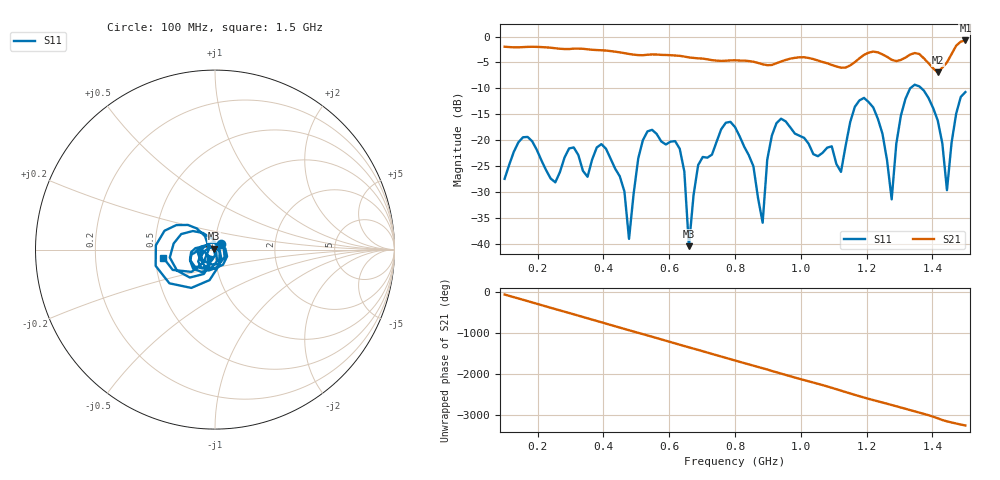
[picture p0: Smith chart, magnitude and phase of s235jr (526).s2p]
! NanoVNA-App
! Date: 2025-09-25 15:08:15
! Start: 100MHz Stop: 1,5GHz Points: 101
! S-Parameter data: F S11 S21 S12 S22
# Hz S RI R 50
!  Frequency  S11_Real  S11_Imag  S21_Real  S21_Imag  S12_Real  S12_Imag  S22_Real  S22_Imag
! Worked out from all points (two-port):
!   101 points, 100 MHz to 1.5 GHz, reference 50 ohm
!   highest |S21| = -0.76 dB at 1.5 GHz (marker M1); lowest = -6.9 dB at 1.416 GHz (marker M2)
!   |S21| within 3 dB of the highest: start of sweep to 635 MHz; 1.187 GHz to 1.257 GHz (69.89 MHz wide, 5.72 % of centre) (the widest 2 of 4)
!   lowest |S11| = -40.5 dB at 660 MHz (marker M3), VSWR 1.02, Z = 49.2 + j0.517 ohm
!   |S11| at or under -10 dB: start of sweep to 1.332 GHz; 1.366 GHz to end of sweep
!   S12 and S22 are empty: the file has one direction only
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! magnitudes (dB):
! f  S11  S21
! 100 MHz  -27.5  -2.0
! 156 MHz  -19.4  -2.0
! 338 MHz  -25.9  -2.4
! 408 MHz  -21.7  -2.7
! 478 MHz  -39.1  -3.4
! 520 MHz  -20.0  -3.6
! 576 MHz  -20.3  -3.5
! 632 MHz  -21.7  -3.7
! 660 MHz  -40.5  -4.0
! 688 MHz  -24.8  -4.2
! 800 MHz  -17.5  -4.6
! 884 MHz  -35.9  -5.4
! 926 MHz  -16.7  -5.1
! 1.038 GHz  -22.7  -4.4
! 1.122 GHz  -26.1  -6.0
! 1.192 GHz  -11.8  -3.5
! 1.248 GHz  -18.8  -3.4
! 1.276 GHz  -31.4  -4.5
! 1.332 GHz  -10.0  -3.5
! 1.416 GHz  -16.2  -6.9
! 1.444 GHz  -29.7  -5.0
! 1.5 GHz  -10.7  -0.8
